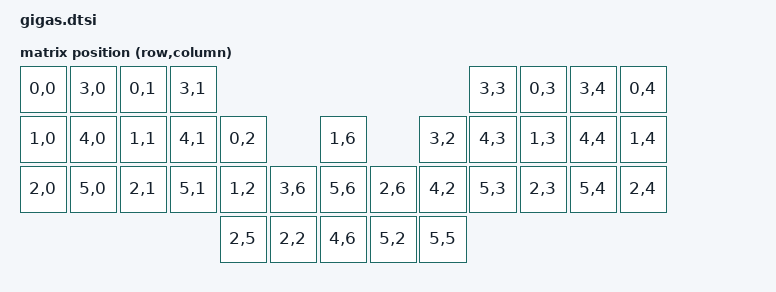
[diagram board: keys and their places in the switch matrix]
#include <dt-bindings/zmk/matrix_transform.h>
#include "gigas_layouts.dtsi"

/ {
    chosen {
        zmk,physical-layout = &gigas_layout;
    };

    gigas_transform: keymap_transform {
        compatible = "zmk,matrix-transform";
        columns = <7>;
        rows = <6>;
        map = <
RC(0,0) RC(3,0) RC(0,1) RC(3,1)                                         RC(3,3) RC(0,3) RC(3,4) RC(0,4)
RC(1,0) RC(4,0) RC(1,1) RC(4,1) RC(0,2)         RC(1,6)         RC(3,2) RC(4,3) RC(1,3) RC(4,4) RC(1,4)
RC(2,0) RC(5,0) RC(2,1) RC(5,1) RC(1,2) RC(3,6) RC(5,6) RC(2,6) RC(4,2) RC(5,3) RC(2,3) RC(5,4) RC(2,4)
                                RC(2,5) RC(2,2) RC(4,6) RC(5,2) RC(5,5)
        >;
    };
};

// vim: expandtab softtabstop=4 shiftwidth=4
